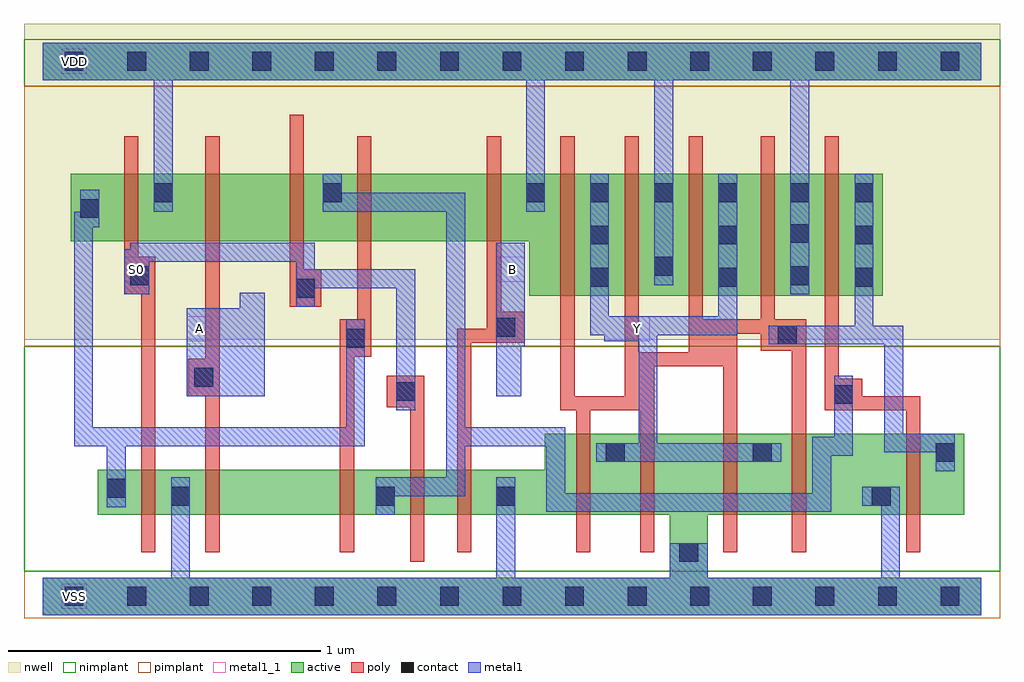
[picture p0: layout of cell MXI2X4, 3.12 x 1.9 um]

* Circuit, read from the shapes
.subckt MXI2X4 A B S0 VDD VSS Y
M1 VSS S0 n1 VSS nfet w=0.145u l=0.045u
M2 n2 A VSS VSS nfet w=0.145u l=0.045u
M3 n3 n1 n2 VSS nfet w=0.145u l=0.045u
M4 n4 S0 n3 VSS nfet w=0.145u l=0.045u
M5 VSS B n4 VSS nfet w=0.145u l=0.045u
M6 Y n5 VSS VSS nfet w=0.26u l=0.045u m=4
M7 n5 n3 VSS VSS nfet w=0.26u l=0.045u
M8 VDD S0 n1 VDD pfet w=0.215u l=0.045u
M9 n6 A VDD VDD pfet w=0.215u l=0.045u
M10 n3 S0 n6 VDD pfet w=0.215u l=0.045u
M11 n7 n1 n3 VDD pfet w=0.215u l=0.045u
M12 VDD B n7 VDD pfet w=0.215u l=0.045u
M13 Y n5 VDD VDD pfet w=0.39u l=0.045u m=4
M14 n5 n3 VDD VDD pfet w=0.39u l=0.045u
.ends

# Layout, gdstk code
import gdstk
lib = gdstk.Library(unit=1e-6, precision=5e-10)
def R(c, l, rs):  # rectangles x0, y0, x1, y1
    for r in rs: c.add(gdstk.rectangle(r[:2], r[2:], *l))
def A(c, l, x, y, w, h, nx, ny, dx, dy):  # array of equal rectangles
    R(c, l, [(x+i*dx, y+j*dy, x+i*dx+w, y+j*dy+h) for i in range(nx) for j in range(ny)])
def P(c, l, *ps):  # polygons
    for p in ps: c.add(gdstk.Polygon(p, *l))
active = (1, 0)
nwell = (2, 0)
poly = (3, 0)
nimplant = (4, 0)
pimplant = (5, 0)
contact = (6, 0)
metal1 = (7, 0)
metal1_1 = (7, 1)

mxi2x4 = lib.new_cell('MXI2X4')
R(mxi2x4, active, [(0,1.65,3,1.77)])
P(mxi2x4, active, [(0.09,1.35),(2.685,1.35),(2.685,0.96),(1.555,0.96),(1.555,1.135),(0.09,1.135)],
  [(1.605,0.52),(2.945,0.52),(2.945,0.26),(2.125,0.26),(2.125,0.06),(3,0.06),(3,-0.06),(0,-0.06),(0,0.06),(2.005,0.06),(2.005,0.26),(0.175,0.26),(0.175,0.405),(1.605,0.405)])
R(mxi2x4, nwell, [(-0.06,0.82,3.06,1.83)])
P(mxi2x4, poly, [(0.26,1.47),(0.305,1.47),(0.305,1.085),(0.36,1.085),(0.36,0.14),(0.315,0.14),(0.315,0.965),(0.26,0.965)],
  [(0.52,1.47),(0.565,1.47),(0.565,0.14),(0.52,0.14),(0.52,0.64),(0.465,0.64),(0.465,0.76),(0.52,0.76)],
  [(0.79,1.54),(0.835,1.54),(0.835,1.045),(0.89,1.045),(0.89,0.925),(0.79,0.925)],
  [(1.005,1.47),(1.05,1.47),(1.05,0.765),(0.995,0.765),(0.995,0.14),(0.95,0.14),(0.95,0.885),(1.005,0.885)],
  [(1.42,1.47),(1.465,1.47),(1.465,0.91),(1.54,0.91),(1.54,0.81),(1.37,0.81),(1.37,0.14),(1.325,0.14),(1.325,0.855),(1.42,0.855)],
  [(1.655,1.47),(1.7,1.47),(1.7,0.64),(1.86,0.64),(1.86,1.47),(1.905,1.47),(1.905,0.78),(2.065,0.78),(2.065,1.47),(2.11,1.47),(2.11,0.885),(2.295,0.885),(2.295,1.47),(2.34,1.47),(2.34,0.885),(2.44,0.885),(2.44,0.14),(2.395,0.14),(2.395,0.785),(2.295,0.785),(2.295,0.84),(2.22,0.84),(2.22,0.14),(2.175,0.14),(2.175,0.735),(1.955,0.735),(1.955,0.14),(1.91,0.14),(1.91,0.595),(1.75,0.595),(1.75,0.14),(1.705,0.14),(1.705,0.595),(1.655,0.595)],
  [(2.5,1.47),(2.545,1.47),(2.545,0.695),(2.62,0.695),(2.62,0.64),(2.805,0.64),(2.805,0.14),(2.76,0.14),(2.76,0.595),(2.5,0.595)],
  [(1.1,0.705),(1.22,0.705),(1.22,0.11),(1.175,0.11),(1.175,0.605),(1.1,0.605)])
R(mxi2x4, nimplant, [(-0.06,0.08,3.06,0.8), (-0.06,1.63,3.06,1.78)])
R(mxi2x4, pimplant, [(-0.06,-0.07,3.06,0.08), (-0.06,0.8,3.06,1.63)])
A(mxi2x4, contact, 0.07, -0.03, 0.06, 0.06, 15, 2, 0.2, 1.71)
A(mxi2x4, contact, 2.595, 0.99, 0.06, 0.06, 1, 3, 0, 0.135)
A(mxi2x4, contact, 1.545, 1.26, 0.06, 0.06, 4, 1, 0.205, 0)
R(mxi2x4, contact, [(2.035,0.11,2.095,0.17), (0.41,0.29,0.47,0.35), (1.065,0.29,1.125,0.35), (1.45,0.29,1.51,0.35), (2.65,0.29,2.71,0.35), (0.205,0.315,0.265,0.375), (1.8,0.43,1.86,0.49), (2.27,0.43,2.33,0.49), (2.855,0.43,2.915,0.49), (2.53,0.615,2.59,0.675), (1.13,0.625,1.19,0.685), (0.485,0.67,0.545,0.73), (0.97,0.795,1.03,0.855), (2.35,0.805,2.41,0.865), (1.45,0.83,1.51,0.89), (0.81,0.955,0.87,1.015), (1.75,0.99,1.81,1.05), (2.16,0.99,2.22,1.05), (0.28,0.995,0.34,1.055), (2.39,0.995,2.45,1.055), (1.955,1.025,2.015,1.085), (1.75,1.125,1.81,1.185), (2.16,1.125,2.22,1.185), (2.39,1.13,2.45,1.19), (0.12,1.21,0.18,1.27), (0.355,1.26,0.415,1.32), (0.895,1.26,0.955,1.32), (2.39,1.26,2.45,1.32)])
P(mxi2x4, metal1, [(0,1.77),(3,1.77),(3,1.65),(2.45,1.65),(2.45,0.965),(2.39,0.965),(2.39,1.65),(2.015,1.65),(2.015,0.995),(1.955,0.995),(1.955,1.65),(1.605,1.65),(1.605,1.23),(1.545,1.23),(1.545,1.65),(0.415,1.65),(0.415,1.23),(0.355,1.23),(0.355,1.65),(0,1.65)],
  [(0.12,1.3),(0.18,1.3),(0.18,1.18),(0.16,1.18),(0.16,0.54),(0.97,0.54),(0.97,0.885),(1.03,0.885),(1.03,0.48),(0.265,0.48),(0.265,0.285),(0.205,0.285),(0.205,0.48),(0.1,0.48),(0.1,1.23),(0.12,1.23)],
  [(0.895,1.35),(0.955,1.35),(0.955,1.29),(1.35,1.29),(1.35,0.54),(1.67,0.54),(1.67,0.33),(2.46,0.33),(2.46,0.51),(2.53,0.51),(2.53,0.705),(2.59,0.705),(2.59,0.45),(2.52,0.45),(2.52,0.27),(1.61,0.27),(1.61,0.48),(1.35,0.48),(1.35,0.32),(1.125,0.32),(1.125,0.26),(1.065,0.26),(1.065,0.38),(1.29,0.38),(1.29,1.23),(0.895,1.23)],
  [(0.28,1.13),(0.87,1.13),(0.87,1.045),(1.19,1.045),(1.19,0.595),(1.13,0.595),(1.13,0.985),(0.87,0.985),(0.87,0.925),(0.81,0.925),(0.81,1.07),(0.34,1.07),(0.34,0.965),(0.26,0.965),(0.26,1.11),(0.28,1.11)],
  [(0.63,0.97),(0.71,0.97),(0.71,0.64),(0.46,0.64),(0.46,0.92),(0.63,0.92)],
  [(1.75,1.35),(1.81,1.35),(1.81,0.895),(2.16,0.895),(2.16,1.35),(2.22,1.35),(2.22,0.835),(1.965,0.835),(1.965,0.49),(2.36,0.49),(2.36,0.43),(1.77,0.43),(1.77,0.49),(1.905,0.49),(1.905,0.815),(1.795,0.815),(1.795,0.835),(1.75,0.835)],
  [(1.45,1.13),(1.54,1.13),(1.54,0.8),(1.53,0.8),(1.53,0.64),(1.45,0.64)],
  [(2.595,1.35),(2.655,1.35),(2.655,0.865),(2.75,0.865),(2.75,0.52),(2.915,0.52),(2.915,0.4),(2.855,0.4),(2.855,0.46),(2.69,0.46),(2.69,0.805),(2.32,0.805),(2.32,0.865),(2.595,0.865)],
  [(0.41,0.38),(0.47,0.38),(0.47,0.06),(1.45,0.06),(1.45,0.38),(1.51,0.38),(1.51,0.06),(2.005,0.06),(2.005,0.17),(2.125,0.17),(2.125,0.06),(2.68,0.06),(2.68,0.29),(2.62,0.29),(2.62,0.35),(2.74,0.35),(2.74,0.06),(3,0.06),(3,-0.06),(0,-0.06),(0,0.06),(0.41,0.06)])
R(mxi2x4, metal1_1, [(0.06,-0.04,0.14,0.04), (0.46,0.815,0.54,0.895), (1.86,0.815,1.94,0.895), (0.26,1.005,0.34,1.085), (1.46,1.005,1.54,1.085), (0.06,1.67,0.14,1.75)])
mxi2x4.add(gdstk.Label('Y', (1.9,0.855), layer=7, texttype=1))
mxi2x4.add(gdstk.Label('B', (1.5,1.045), layer=7, texttype=1))
mxi2x4.add(gdstk.Label('A', (0.5,0.855), layer=7, texttype=1))
mxi2x4.add(gdstk.Label('S0', (0.3,1.045), layer=7, texttype=1))
mxi2x4.add(gdstk.Label('VDD', (0.1,1.71), layer=7, texttype=1))
mxi2x4.add(gdstk.Label('VSS', (0.1,0), layer=7, texttype=1))
mxi2x4.add(gdstk.Label('MXI2X4', (0,0), layer=63, texttype=0))

lib.write_gds('MXI2X4.gds')
